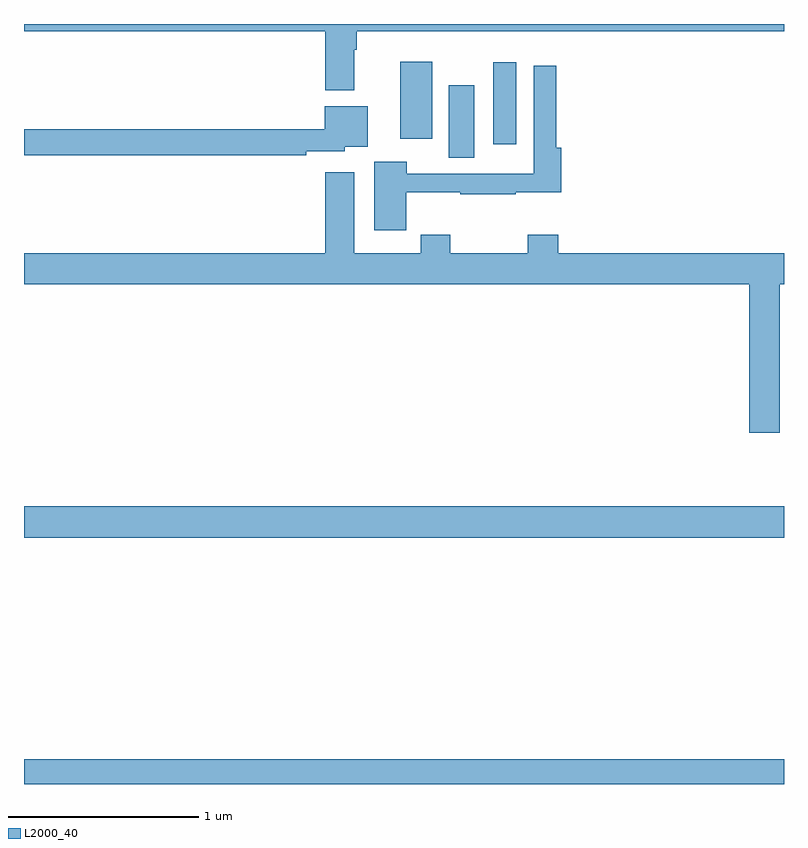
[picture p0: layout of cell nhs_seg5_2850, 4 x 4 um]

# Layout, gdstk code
import gdstk
lib = gdstk.Library(unit=1e-6, precision=1e-09)
def R(c, l, rs):  # rectangles x0, y0, x1, y1
    for r in rs: c.add(gdstk.rectangle(r[:2], r[2:], *l))
def P(c, l, *ps):  # polygons
    for p in ps: c.add(gdstk.Polygon(p, *l))
L2000_40 = (2000, 40)

nhs_seg5_2850 = lib.new_cell('nhs_seg5_2850')
R(nhs_seg5_2850, L2000_40, [(277,852.799,281,852.928), (277,854.096,281,854.26), (279.236,856.096,279.37,856.477), (279.47,856.167,279.592,856.597), (278.981,856.194,279.148,856.6)])
P(nhs_seg5_2850, L2000_40, [(278.737,856.664),(278.75,856.664),(278.75,856.76),(281,856.76),(281,856.799),(277,856.799),(277,856.76),(278.585,856.76),(278.585,856.451),(278.737,856.451)],
  [(279.012,855.913),(279.297,855.913),(279.297,855.903),(279.587,855.903),(279.587,855.913),(279.827,855.913),(279.827,856.147),(279.8,856.147),(279.8,856.579),(279.684,856.579),(279.684,856.012),(279.474,856.012),(279.474,856.011),(279.014,856.011),(279.014,856.075),(278.843,856.075),(278.843,855.714),(279.012,855.714)],
  [(278.486,856.128),(278.688,856.128),(278.688,856.154),(278.809,856.154),(278.809,856.366),(278.582,856.366),(278.582,856.244),(277,856.244),(277,856.108),(278.486,856.108)],
  [(280.977,855.428),(281,855.428),(281,855.592),(279.812,855.592),(279.812,855.691),(279.652,855.691),(279.652,855.592),(279.243,855.592),(279.243,855.691),(279.089,855.691),(279.089,855.592),(278.737,855.592),(278.737,856.018),(278.585,856.018),(278.585,855.592),(277,855.592),(277,855.428),(280.817,855.428),(280.817,854.649),(280.977,854.649)])

lib.write_gds('nhs_seg5_2850.gds')
